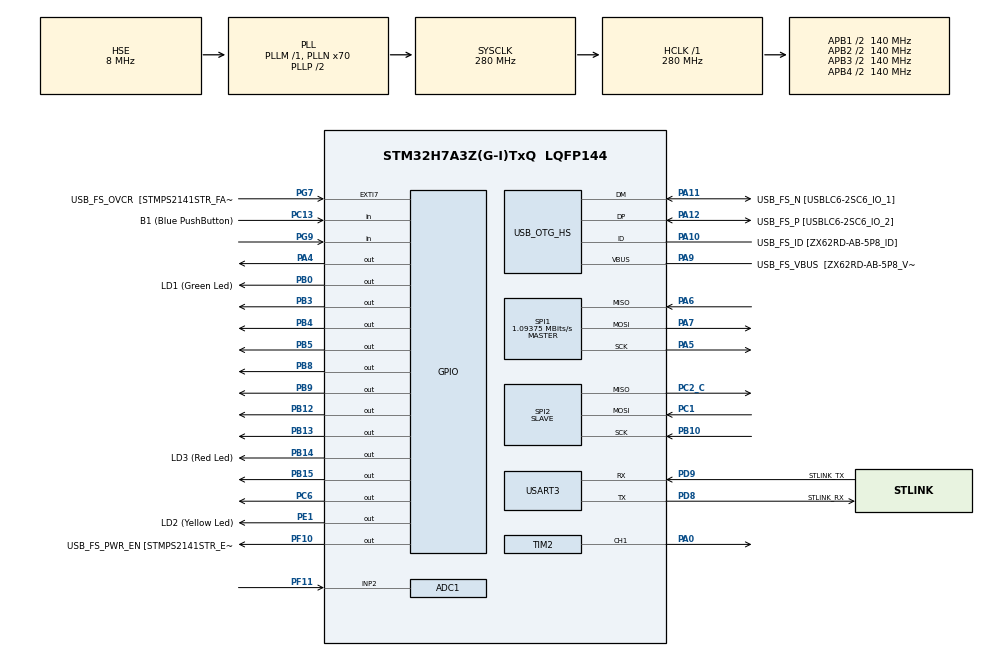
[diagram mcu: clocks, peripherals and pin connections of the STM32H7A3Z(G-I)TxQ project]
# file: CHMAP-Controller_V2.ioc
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ADC1.Channel-0\#ChannelRegularConversion=ADC_CHANNEL_2
ADC1.NbrOfConversion=1
ADC1.NbrOfConversionFlag=1
ADC1.OffsetNumber-0\#ChannelRegularConversion=ADC_OFFSET_NONE
ADC1.OffsetSignedSaturation-0\#ChannelRegularConversion=DISABLE
ADC1.Rank-0\#ChannelRegularConversion=1
ADC1.Resolution=ADC_RESOLUTION_12B
ADC1.SamplingTime-0\#ChannelRegularConversion=ADC_SAMPLETIME_1CYCLE_5
ADC1.master=1
Dma.Request0=SPI2_RX
Dma.SPI2_RX.0.Direction=DMA_PERIPH_TO_MEMORY
Dma.SPI2_RX.0.EventEnable=DISABLE
Dma.SPI2_RX.0.FIFOMode=DMA_FIFOMODE_DISABLE
Dma.SPI2_RX.0.Instance=DMA1_Stream0
Dma.SPI2_RX.0.MemDataAlignment=DMA_MDATAALIGN_BYTE
Dma.SPI2_RX.0.MemInc=DMA_MINC_ENABLE
Dma.SPI2_RX.0.Mode=DMA_CIRCULAR
Dma.SPI2_RX.0.PeriphDataAlignment=DMA_PDATAALIGN_BYTE
Dma.SPI2_RX.0.PeriphInc=DMA_PINC_DISABLE
Dma.SPI2_RX.0.Polarity=HAL_DMAMUX_REQ_GEN_RISING
Dma.SPI2_RX.0.Priority=DMA_PRIORITY_MEDIUM
Dma.SPI2_RX.0.RequestNumber=1
Dma.SPI2_RX.0.SignalID=NONE
Dma.SPI2_RX.0.SyncEnable=DISABLE
Dma.SPI2_RX.0.SyncPolarity=HAL_DMAMUX_SYNC_NO_EVENT
Dma.SPI2_RX.0.SyncRequestNumber=1
Dma.SPI2_RX.0.SyncSignalID=NONE
FREERTOS.Tasks01=defaultTask,0,128,StartDefaultTask,Default,NULL,Dynamic,NULL,NULL
Mcu.Family=STM32H7
Mcu.Name=STM32H7A3Z(G-I)TxQ
Mcu.Package=LQFP144
NVIC.ADC_IRQn=true\:5\:0\:false\:false\:true\:true\:true\:true\:true
NVIC.DMA1_Stream0_IRQn=true\:5\:0\:false\:false\:true\:true\:false\:true\:true
NVIC.PriorityGroup=NVIC_PRIORITYGROUP_4
NVIC.TIM3_IRQn=true\:5\:0\:false\:false\:true\:true\:true\:true\:true
NVIC.TIM5_IRQn=true\:5\:0\:false\:false\:true\:true\:true\:true\:true
NVIC.TIM6_DAC_IRQn=true\:15\:0\:false\:false\:true\:false\:false\:true\:true
NVIC.TimeBase=TIM6_DAC_IRQn
NVIC.TimeBaseIP=TIM6
NVIC.USART3_IRQn=true\:5\:0\:false\:false\:true\:true\:true\:true\:true
PA0.Signal=S_TIM2_CH1_ETR
PA10.GPIO_Label=USB_FS_ID [ZX62RD-AB-5P8_ID]
PA10.Mode=OTG/Dual-Role-Device-FS
PA10.Signal=USB_OTG_HS_ID
PA11.GPIO_Label=USB_FS_N [USBLC6-2SC6_IO_1]
PA11.Mode=OTG/Dual-Role-Device-FS
PA11.Signal=USB_OTG_HS_DM
PA12.GPIO_Label=USB_FS_P [USBLC6-2SC6_IO_2]
PA12.Mode=OTG/Dual-Role-Device-FS
PA12.Signal=USB_OTG_HS_DP
PA4.Signal=GPIO_Output
PA5.Mode=Full_Duplex_Master
PA5.Signal=SPI1_SCK
PA6.Mode=Full_Duplex_Master
PA6.Signal=SPI1_MISO
PA7.Mode=Full_Duplex_Master
PA7.Signal=SPI1_MOSI
PA9.GPIO_Label=USB_FS_VBUS  [ZX62RD-AB-5P8_VBUS]
PA9.Mode=Activate_VBUS_FS
PA9.Signal=USB_OTG_HS_VBUS
PB0.GPIO_Label=LD1 (Green Led)
PB0.Signal=GPIO_Output
PB10.Mode=Full_Duplex_Slave
PB10.Signal=SPI2_SCK
PB12.Signal=GPIO_Output
PB13.Signal=GPIO_Output
PB14.GPIO_Label=LD3 (Red Led)
PB14.Signal=GPIO_Output
PB15.Signal=GPIO_Output
PB3.Signal=GPIO_Output
PB4.Signal=GPIO_Output
PB5.Signal=GPIO_Output
PB8.Signal=GPIO_Output
PB9.Signal=GPIO_Output
PC1.Mode=Full_Duplex_Slave
PC1.Signal=SPI2_MOSI
PC13.GPIO_Label=B1 (Blue PushButton)
PC13.Signal=GPIO_Input
PC14-OSC32_IN.GPIO_Label=OSC32_IN
PC14-OSC32_IN.Mode=LSE-External-Oscillator
PC14-OSC32_IN.Signal=RCC_OSC32_IN
PC15-OSC32_OUT.GPIO_Label=OSC32_OUT
PC15-OSC32_OUT.Mode=LSE-External-Oscillator
PC15-OSC32_OUT.Signal=RCC_OSC32_OUT
PC2_C.Mode=Full_Duplex_Slave
PC2_C.Signal=SPI2_MISO
PC6.Signal=GPIO_Output
PD8.GPIO_Label=STLINK_RX
PD8.Mode=Asynchronous
PD8.Signal=USART3_TX
PD9.GPIO_Label=STLINK_TX
PD9.Mode=Asynchronous
PD9.Signal=USART3_RX
PE1.GPIO_Label=LD2 (Yellow Led)
PE1.Signal=GPIO_Output
PF10.GPIO_Label=USB_FS_PWR_EN [STMPS2141STR_EN]
PF10.Signal=GPIO_Output
PF11.Mode=IN2-Single-Ended
PF11.Signal=ADC1_INP2
PG7.GPIO_Label=USB_FS_OVCR  [STMPS2141STR_FAULT]
PG7.Signal=GPXTI7
PG9.Signal=GPIO_Input
PH0-OSC_IN.GPIO_Label=PH0-MCU
PH0-OSC_IN.Mode=HSE-External-Clock-Source
PH0-OSC_IN.Signal=RCC_OSC_IN
PH1-OSC_OUT.GPIO_Label=PH1-MCU
PH1-OSC_OUT.Signal=RCC_OSC_OUT
ProjectManager.HeapSize=0x200
ProjectManager.StackSize=0x400
ProjectManager.TargetToolchain=STM32CubeIDE
RCC.ADCFreq_Value=280000000
RCC.APB1Freq_Value=140000000
RCC.APB2Freq_Value=140000000
RCC.APB3Freq_Value=140000000
RCC.APB4Freq_Value=140000000
RCC.CDPPRE=RCC_APB3_DIV2
RCC.CDPPRE1=RCC_APB1_DIV2
RCC.CDPPRE2=RCC_APB2_DIV2
RCC.CortexFreq_Value=280000000
RCC.DIVM1=1
RCC.DIVM2=1
RCC.DIVM3=1
RCC.DIVN1=70
RCC.DIVN2=70
RCC.DIVN3=24
RCC.DIVQ1=4
RCC.HCLKFreq_Value=280000000
RCC.HSE_VALUE=8000000
RCC.PLLFRACN=0
RCC.PLLSourceVirtual=RCC_PLLSOURCE_HSE
RCC.PWR_Regulator_Voltage_Scale=PWR_REGULATOR_VOLTAGE_SCALE0
RCC.SRDPPRE=RCC_APB4_DIV2
RCC.SYSCLKFreq_VALUE=280000000
RCC.SYSCLKSource=RCC_SYSCLKSOURCE_PLLCLK
RCC.SupplySource=PWR_DIRECT_SMPS_SUPPLY
RCC.USBCLockSelection=RCC_USBCLKSOURCE_HSI48
RCC.USBFreq_Value=48000000
SH.S_TIM2_CH1_ETR.0=TIM2_CH1,PWM Generation1 CH1
SPI1.BaudRatePrescaler=SPI_BAUDRATEPRESCALER_128
SPI1.CLKPhase=SPI_PHASE_2EDGE
SPI1.CLKPolarity=SPI_POLARITY_HIGH
SPI1.CalculateBaudRate=1.09375 MBits/s
SPI1.DataSize=SPI_DATASIZE_8BIT
SPI1.Direction=SPI_DIRECTION_2LINES
SPI1.Mode=SPI_MODE_MASTER
SPI1.VirtualType=VM_MASTER
SPI2.DataSize=SPI_DATASIZE_8BIT
SPI2.Direction=SPI_DIRECTION_2LINES
SPI2.Mode=SPI_MODE_SLAVE
SPI2.VirtualType=VM_SLAVE
TIM2.Channel-PWM\ Generation1\ CH1=TIM_CHANNEL_1
TIM2.Period=280000-1
TIM3.Period=1500-1
TIM3.Prescaler=280-1
TIM5.Period=1500-1
TIM5.Prescaler=280-1
USART3.VirtualMode-Asynchronous=VM_ASYNC
VP_FREERTOS_VS_CMSIS_V1.Mode=CMSIS_V1
VP_SYS_VS_tim6.Mode=TIM6
VP_TIM2_VS_ClockSourceINT.Mode=Internal
VP_TIM3_VS_ClockSourceINT.Mode=Internal
VP_TIM5_VS_ClockSourceINT.Mode=Internal
board=NUCLEO-H7A3ZI-Q

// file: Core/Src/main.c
/* USER CODE BEGIN Header */
/**
  ******************************************************************************
  * @file           : main.c
  * @brief          : Main program body
  ******************************************************************************
  * @attention
  *
  * Copyright (c) 2022 STMicroelectronics.
  * All rights reserved.
  *
  * This software is licensed under terms that can be found in the LICENSE file
  * in the root directory of this software component.
  * If no LICENSE file comes with this software, it is provided AS-IS.
  *
  ******************************************************************************
  */
/* USER CODE END Header */
#include "main.h"

/* USER CODE BEGIN Includes */
#include "FreeRTOS.h"
#include "task.h"
#include "timers.h"
#include "queue.h"
#include "semphr.h"
#include "event_groups.h"

#include <stdio.h>
#include <stdlib.h>
#include <stdbool.h>
#include "string.h"
#include <math.h>
/* USER CODE END Includes */

 ADC_HandleTypeDef hadc1;

SPI_HandleTypeDef hspi1;
SPI_HandleTypeDef hspi2;
DMA_HandleTypeDef hdma_spi2_rx;

TIM_HandleTypeDef htim2;
TIM_HandleTypeDef htim3;
TIM_HandleTypeDef htim5;

UART_HandleTypeDef huart3;

/* USER CODE BEGIN PV */

// Buffers

uint8_t DPPrxBuffer[2] = {0};

uint16_t ADCBuffer;

bool AutoFocusEn = false;
uint16_t dist = 2048;

uint16_t max_pos = 20000; // The maximum possible extent of movement along the linear stages
bool MtrStop = false;

// Motor control registers

// GCONF 		- 0x00
//0b00000000000000000000000000000000;
const char GCONF[5] = {0x80, 0x00, 0x00, 0x00, 0x00};

// IHOLD_IRUN 	- 0x10
//0b00000000000001010001110000011100;
const char IHOLD_IRUN[5] = {0x90, 0x00, 0x05, 0x1C, 0x1C};

// TPOWERDOWN 	- 0x11
//0b00000000000000000000000010000000;
const char TPOWERDOWN[5] = {0x91, 0x00, 0x00, 0x00, 0x80};

// CHOPCONF		- 0x6C
//0b00001000000000001010010101000010;
const char CHOPCONF[5] = {0xEC, 0x08, 0x00, 0xA5, 0x42};

// COOLCONF		- 0x6D
//0b00000000010100000010100000100010;
const char COOLCONF[5] = {0xED, 0x00, 0x50, 0x28, 0x22};

// READSTAT		- 0x6F
//0b00000000000000000000000000000000;
const char READSTAT[5] = {0x6F, 0x00, 0x00, 0x00, 0x00};

// Error codes

/* USER CODE END PV */

void SystemClock_Config(void);
static void MX_GPIO_Init(void);
static void MX_USART3_UART_Init(void);
static void MX_DMA_Init(void);
static void MX_USB_OTG_HS_USB_Init(void);
static void MX_SPI2_Init(void);
static void MX_SPI1_Init(void);
static void MX_ADC1_Init(void);
static void MX_TIM2_Init(void);
static void MX_TIM5_Init(void);
static void MX_TIM3_Init(void);

/* USER CODE BEGIN 0 */

/* Task Handles **********************************/

TaskHandle_t MotorCtrlXHandle;
TaskHandle_t MotorCtrlYHandle;
TaskHandle_t HeliumCtrlHandle;
TaskHandle_t UARTComHandle;
TaskHandle_t AutoFocusHandle;
//TaskHandle_t DPPComHandle;

/* Queue Handles *********************************/

QueueHandle_t UARTtxQueue;
QueueHandle_t DPPrxQueue;
QueueHandle_t MtrCtrlXrxQueue;
QueueHandle_t MtrCtrlYrxQueue;
QueueHandle_t HelCtrlrxQueue;
//QueueHandle_t AutoFocusrxQueue;

/* Semaphore Handles *****************************/

SemaphoreHandle_t MotorPulseSem;
SemaphoreHandle_t AutoFocusSem;
SemaphoreHandle_t UARTComSem;
SemaphoreHandle_t AutoFocusPulseSem;

/* Task Functions *********************************/
void AutoFocus (void *argument);
void MotorCtrlX (void *argument);
void MotorCtrlY (void *argument);
void HeliumCtrl (void *argument);
void UARTCom (void *argument);
//void DPPCom (void *argument);

/* USER CODE END 0 */

int main(void)
{

  /* MCU Configuration--------------------------------------------------------*/

  /* Reset of all peripherals, Initializes the Flash interface and the Systick. */
  HAL_Init();

  /* USER CODE BEGIN Init */

  /* Initialise Pins ****************************/
  HAL_GPIO_WritePin(GPIOB, GPIO_PIN_5, GPIO_PIN_RESET);		// EN X and Y
  HAL_GPIO_WritePin(GPIOB, GPIO_PIN_3, GPIO_PIN_SET);		// CS X and Y
  HAL_GPIO_WritePin(GPIOA, GPIO_PIN_4, GPIO_PIN_RESET); 	// DIR X
  HAL_GPIO_WritePin(GPIOB, GPIO_PIN_4, GPIO_PIN_RESET); 	// STEP X
  HAL_GPIO_WritePin(GPIOB, GPIO_PIN_9, GPIO_PIN_RESET); 	// DIR Y
  HAL_GPIO_WritePin(GPIOB, GPIO_PIN_8, GPIO_PIN_RESET); 	// STEP Y

  HAL_GPIO_WritePin(GPIOB, GPIO_PIN_13, GPIO_PIN_RESET); 	// EN Z
  HAL_GPIO_WritePin(GPIOB, GPIO_PIN_12, GPIO_PIN_SET); 		// CS Z
  HAL_GPIO_WritePin(GPIOB, GPIO_PIN_15, GPIO_PIN_RESET); 	// DIR Z
  HAL_GPIO_WritePin(GPIOC, GPIO_PIN_6, GPIO_PIN_RESET); 	// STEP Z

  /* USER CODE END Init */

  /* Configure the system clock */
  SystemClock_Config();

  /* Initialize all configured peripherals */
  MX_GPIO_Init();
  MX_USART3_UART_Init();
  MX_DMA_Init();
  MX_USB_OTG_HS_USB_Init();
  MX_SPI2_Init();
  MX_SPI1_Init();
  MX_ADC1_Init();
  MX_TIM2_Init();
  MX_TIM5_Init();
  MX_TIM3_Init();
  /* USER CODE BEGIN 2 */
  while(HAL_ADCEx_Calibration_Start(&hadc1, ADC_CALIB_OFFSET, ADC_SINGLE_ENDED) != HAL_OK);

  /* Create Queues *********************************/

  UARTtxQueue = xQueueCreate(10, 2);
  DPPrxQueue = xQueueCreate(50, 2); // Send and receive 2 bytes to/from the MCA
  MtrCtrlXrxQueue = xQueueCreate(10, 8);
  MtrCtrlYrxQueue = xQueueCreate(10, 8);
  HelCtrlrxQueue = xQueueCreate(1, 2); // Just an atomic variable, not really a "queue" per se. Could probably just use a semaphore and a global variable as I did in the ISRs
  //AutoFocusrxQueue = xQueueCreate(1, 4);

  /* Create Semaphores *****************************/

  MotorPulseSem = xSemaphoreCreateBinary();
  AutoFocusSem = xSemaphoreCreateBinary();
  UARTComSem = xSemaphoreCreateBinary();
  AutoFocusPulseSem = xSemaphoreCreateBinary();

  /* Create Tasks **********************************/

  xTaskCreate(AutoFocus, 	"Auto_Focus", 			256, NULL, 	4, &AutoFocusHandle);
  xTaskCreate(MotorCtrlX, 	"Motor_Controller_X", 	128, NULL, 	3, &MotorCtrlXHandle);
  xTaskCreate(MotorCtrlY, 	"Motor_Controller_Y", 	128, NULL, 	3, &MotorCtrlYHandle);
  xTaskCreate(HeliumCtrl, 	"Helium_Controller", 	128, NULL, 	1, &HeliumCtrlHandle);
  xTaskCreate(UARTCom, 		"UART_Communication", 	128, NULL, 	2, &UARTComHandle);

  /* Initialise Peripherals with HAL **********************************/

  HAL_TIM_Base_Start_IT(&htim5);
  HAL_TIM_Base_Start_IT(&htim3);
  HAL_TIM_PWM_Start(&htim2, TIM_CHANNEL_1);
  HAL_SPI_Receive_DMA(&hspi2, DPPrxBuffer, 2);

 /* Platform initialisation ***********************************/

  // Being that we send the same information to all the motor drivers, we set the CS for all three low prior to sending a message
  vTaskDelay(pdMS_TO_TICKS(1));
  HAL_GPIO_WritePin(GPIOB, GPIO_PIN_3, GPIO_PIN_RESET);
  HAL_GPIO_WritePin(GPIOB, GPIO_PIN_12, GPIO_PIN_RESET);
  HAL_SPI_Transmit(&hspi1, (uint8_t *)&GCONF, 5, 100);
  HAL_GPIO_WritePin(GPIOB, GPIO_PIN_3, GPIO_PIN_SET);
  HAL_GPIO_WritePin(GPIOB, GPIO_PIN_12, GPIO_PIN_SET);

  vTaskDelay(pdMS_TO_TICKS(1));
  HAL_GPIO_WritePin(GPIOB, GPIO_PIN_3, GPIO_PIN_RESET);
  HAL_GPIO_WritePin(GPIOB, GPIO_PIN_12, GPIO_PIN_RESET);
  HAL_SPI_Transmit(&hspi1, (uint8_t *)&IHOLD_IRUN, 5, 100);
  HAL_GPIO_WritePin(GPIOB, GPIO_PIN_3, GPIO_PIN_SET);
  HAL_GPIO_WritePin(GPIOB, GPIO_PIN_12, GPIO_PIN_SET);

  vTaskDelay(pdMS_TO_TICKS(1));
  HAL_GPIO_WritePin(GPIOB, GPIO_PIN_3, GPIO_PIN_RESET);
  HAL_GPIO_WritePin(GPIOB, GPIO_PIN_12, GPIO_PIN_RESET);
  HAL_SPI_Transmit(&hspi1, (uint8_t *)&TPOWERDOWN, 5, 100);
  HAL_GPIO_WritePin(GPIOB, GPIO_PIN_3, GPIO_PIN_SET);
  HAL_GPIO_WritePin(GPIOB, GPIO_PIN_12, GPIO_PIN_SET);

  vTaskDelay(pdMS_TO_TICKS(1));
  HAL_GPIO_WritePin(GPIOB, GPIO_PIN_3, GPIO_PIN_RESET);
  HAL_GPIO_WritePin(GPIOB, GPIO_PIN_12, GPIO_PIN_RESET);
  HAL_SPI_Transmit(&hspi1, (uint8_t *)&CHOPCONF, 5, 100);
  HAL_GPIO_WritePin(GPIOB, GPIO_PIN_3, GPIO_PIN_SET);
  HAL_GPIO_WritePin(GPIOB, GPIO_PIN_12, GPIO_PIN_SET);

  vTaskDelay(pdMS_TO_TICKS(1));
  HAL_GPIO_WritePin(GPIOB, GPIO_PIN_3, GPIO_PIN_RESET);
  HAL_GPIO_WritePin(GPIOB, GPIO_PIN_12, GPIO_PIN_RESET);
  HAL_SPI_Transmit(&hspi1, (uint8_t *)&COOLCONF, 5, 100);
  HAL_GPIO_WritePin(GPIOB, GPIO_PIN_3, GPIO_PIN_SET);
  HAL_GPIO_WritePin(GPIOB, GPIO_PIN_12, GPIO_PIN_SET);

  vTaskStartScheduler();

  /* USER CODE END 2 */

  /* We should never get here as control is now taken by the scheduler */
  /* Infinite loop */
  while (1)
  {

  }
}

void SystemClock_Config(void)
{
  RCC_OscInitTypeDef RCC_OscInitStruct = {0};
  RCC_ClkInitTypeDef RCC_ClkInitStruct = {0};

  /** Supply configuration update enable
  */
  HAL_PWREx_ConfigSupply(PWR_DIRECT_SMPS_SUPPLY);

  /** Configure the main internal regulator output voltage
  */
  __HAL_PWR_VOLTAGESCALING_CONFIG(PWR_REGULATOR_VOLTAGE_SCALE0);

  while(!__HAL_PWR_GET_FLAG(PWR_FLAG_VOSRDY)) {}

  /** Macro to configure the PLL clock source
  */
  __HAL_RCC_PLL_PLLSOURCE_CONFIG(RCC_PLLSOURCE_HSE);

  /** Initializes the RCC Oscillators according to the specified parameters
  * in the RCC_OscInitTypeDef structure.
  */
  RCC_OscInitStruct.OscillatorType = RCC_OSCILLATORTYPE_HSI48|RCC_OSCILLATORTYPE_HSE;
  RCC_OscInitStruct.HSEState = RCC_HSE_BYPASS;
  RCC_OscInitStruct.HSI48State = RCC_HSI48_ON;
  RCC_OscInitStruct.PLL.PLLState = RCC_PLL_ON;
  RCC_OscInitStruct.PLL.PLLSource = RCC_PLLSOURCE_HSE;
  RCC_OscInitStruct.PLL.PLLM = 1;
  RCC_OscInitStruct.PLL.PLLN = 70;
  RCC_OscInitStruct.PLL.PLLP = 2;
  RCC_OscInitStruct.PLL.PLLQ = 4;
  RCC_OscInitStruct.PLL.PLLR = 2;
  RCC_OscInitStruct.PLL.PLLRGE = RCC_PLL1VCIRANGE_3;
  RCC_OscInitStruct.PLL.PLLVCOSEL = RCC_PLL1VCOWIDE;
  RCC_OscInitStruct.PLL.PLLFRACN = 0;
  if (HAL_RCC_OscConfig(&RCC_OscInitStruct) != HAL_OK)
  {
    Error_Handler();
  }

  /** Initializes the CPU, AHB and APB buses clocks
  */
  RCC_ClkInitStruct.ClockType = RCC_CLOCKTYPE_HCLK|RCC_CLOCKTYPE_SYSCLK
                              |RCC_CLOCKTYPE_PCLK1|RCC_CLOCKTYPE_PCLK2
                              |RCC_CLOCKTYPE_D3PCLK1|RCC_CLOCKTYPE_D1PCLK1;
  RCC_ClkInitStruct.SYSCLKSource = RCC_SYSCLKSOURCE_PLLCLK;
  RCC_ClkInitStruct.SYSCLKDivider = RCC_SYSCLK_DIV1;
  RCC_ClkInitStruct.AHBCLKDivider = RCC_HCLK_DIV1;
  RCC_ClkInitStruct.APB3CLKDivider = RCC_APB3_DIV2;
  RCC_ClkInitStruct.APB1CLKDivider = RCC_APB1_DIV2;
  RCC_ClkInitStruct.APB2CLKDivider = RCC_APB2_DIV2;
  RCC_ClkInitStruct.APB4CLKDivider = RCC_APB4_DIV2;

  if (HAL_RCC_ClockConfig(&RCC_ClkInitStruct, FLASH_LATENCY_7) != HAL_OK)
  {
    Error_Handler();
  }
}

static void MX_ADC1_Init(void)
{

  ADC_MultiModeTypeDef multimode = {0};
  ADC_ChannelConfTypeDef sConfig = {0};

  /** Common config
  */
  hadc1.Instance = ADC1;
  hadc1.Init.ClockPrescaler = ADC_CLOCK_ASYNC_DIV1;
  hadc1.Init.Resolution = ADC_RESOLUTION_12B;
  hadc1.Init.ScanConvMode = ADC_SCAN_DISABLE;
  hadc1.Init.EOCSelection = ADC_EOC_SINGLE_CONV;
  hadc1.Init.LowPowerAutoWait = DISABLE;
  hadc1.Init.ContinuousConvMode = DISABLE;
  hadc1.Init.NbrOfConversion = 1;
  hadc1.Init.DiscontinuousConvMode = DISABLE;
  hadc1.Init.ExternalTrigConv = ADC_SOFTWARE_START;
  hadc1.Init.ExternalTrigConvEdge = ADC_EXTERNALTRIGCONVEDGE_NONE;
  hadc1.Init.ConversionDataManagement = ADC_CONVERSIONDATA_DR;
  hadc1.Init.Overrun = ADC_OVR_DATA_PRESERVED;
  hadc1.Init.LeftBitShift = ADC_LEFTBITSHIFT_NONE;
  hadc1.Init.OversamplingMode = DISABLE;
  if (HAL_ADC_Init(&hadc1) != HAL_OK)
  {
    Error_Handler();
  }

  /** Configure the ADC multi-mode
  */
  multimode.Mode = ADC_MODE_INDEPENDENT;
  if (HAL_ADCEx_MultiModeConfigChannel(&hadc1, &multimode) != HAL_OK)
  {
    Error_Handler();
  }

  /** Configure Regular Channel
  */
  sConfig.Channel = ADC_CHANNEL_2;
  sConfig.Rank = ADC_REGULAR_RANK_1;
  sConfig.SamplingTime = ADC_SAMPLETIME_1CYCLE_5;
  sConfig.SingleDiff = ADC_SINGLE_ENDED;
  sConfig.OffsetNumber = ADC_OFFSET_NONE;
  sConfig.Offset = 0;
  sConfig.OffsetSignedSaturation = DISABLE;
  if (HAL_ADC_ConfigChannel(&hadc1, &sConfig) != HAL_OK)
  {
    Error_Handler();
  }

}

static void MX_SPI1_Init(void)
{

  /* SPI1 parameter configuration*/
  hspi1.Instance = SPI1;
  hspi1.Init.Mode = SPI_MODE_MASTER;
  hspi1.Init.Direction = SPI_DIRECTION_2LINES;
  hspi1.Init.DataSize = SPI_DATASIZE_8BIT;
  hspi1.Init.CLKPolarity = SPI_POLARITY_HIGH;
  hspi1.Init.CLKPhase = SPI_PHASE_2EDGE;
  hspi1.Init.NSS = SPI_NSS_SOFT;
  hspi1.Init.BaudRatePrescaler = SPI_BAUDRATEPRESCALER_128;
  hspi1.Init.FirstBit = SPI_FIRSTBIT_MSB;
  hspi1.Init.TIMode = SPI_TIMODE_DISABLE;
  hspi1.Init.CRCCalculation = SPI_CRCCALCULATION_DISABLE;
  hspi1.Init.CRCPolynomial = 0x0;
  hspi1.Init.NSSPMode = SPI_NSS_PULSE_ENABLE;
  hspi1.Init.NSSPolarity = SPI_NSS_POLARITY_LOW;
  hspi1.Init.FifoThreshold = SPI_FIFO_THRESHOLD_01DATA;
  hspi1.Init.TxCRCInitializationPattern = SPI_CRC_INITIALIZATION_ALL_ZERO_PATTERN;
  hspi1.Init.RxCRCInitializationPattern = SPI_CRC_INITIALIZATION_ALL_ZERO_PATTERN;
  hspi1.Init.MasterSSIdleness = SPI_MASTER_SS_IDLENESS_00CYCLE;
  hspi1.Init.MasterInterDataIdleness = SPI_MASTER_INTERDATA_IDLENESS_00CYCLE;
  hspi1.Init.MasterReceiverAutoSusp = SPI_MASTER_RX_AUTOSUSP_DISABLE;
  hspi1.Init.MasterKeepIOState = SPI_MASTER_KEEP_IO_STATE_DISABLE;
  hspi1.Init.IOSwap = SPI_IO_SWAP_DISABLE;
  if (HAL_SPI_Init(&hspi1) != HAL_OK)
  {
    Error_Handler();
  }

}

static void MX_SPI2_Init(void)
{

  /* SPI2 parameter configuration*/
  hspi2.Instance = SPI2;
  hspi2.Init.Mode = SPI_MODE_SLAVE;
  hspi2.Init.Direction = SPI_DIRECTION_2LINES;
  hspi2.Init.DataSize = SPI_DATASIZE_8BIT;
  hspi2.Init.CLKPolarity = SPI_POLARITY_LOW;
  hspi2.Init.CLKPhase = SPI_PHASE_1EDGE;
  hspi2.Init.NSS = SPI_NSS_SOFT;
  hspi2.Init.FirstBit = SPI_FIRSTBIT_MSB;
  hspi2.Init.TIMode = SPI_TIMODE_DISABLE;
  hspi2.Init.CRCCalculation = SPI_CRCCALCULATION_DISABLE;
  hspi2.Init.CRCPolynomial = 0x0;
  hspi2.Init.NSSPMode = SPI_NSS_PULSE_DISABLE;
  hspi2.Init.NSSPolarity = SPI_NSS_POLARITY_LOW;
  hspi2.Init.FifoThreshold = SPI_FIFO_THRESHOLD_01DATA;
  hspi2.Init.TxCRCInitializationPattern = SPI_CRC_INITIALIZATION_ALL_ZERO_PATTERN;
  hspi2.Init.RxCRCInitializationPattern = SPI_CRC_INITIALIZATION_ALL_ZERO_PATTERN;
  hspi2.Init.MasterSSIdleness = SPI_MASTER_SS_IDLENESS_00CYCLE;
  hspi2.Init.MasterInterDataIdleness = SPI_MASTER_INTERDATA_IDLENESS_00CYCLE;
  hspi2.Init.MasterReceiverAutoSusp = SPI_MASTER_RX_AUTOSUSP_DISABLE;
  hspi2.Init.MasterKeepIOState = SPI_MASTER_KEEP_IO_STATE_DISABLE;
  hspi2.Init.IOSwap = SPI_IO_SWAP_DISABLE;
  if (HAL_SPI_Init(&hspi2) != HAL_OK)
  {
    Error_Handler();
  }

}

static void MX_TIM2_Init(void)
{

  TIM_ClockConfigTypeDef sClockSourceConfig = {0};
  TIM_MasterConfigTypeDef sMasterConfig = {0};
  TIM_OC_InitTypeDef sConfigOC = {0};

  htim2.Instance = TIM2;
  htim2.Init.Prescaler = 0;
  htim2.Init.CounterMode = TIM_COUNTERMODE_UP;
  htim2.Init.Period = 280000-1;
  htim2.Init.ClockDivision = TIM_CLOCKDIVISION_DIV1;
  htim2.Init.AutoReloadPreload = TIM_AUTORELOAD_PRELOAD_DISABLE;
  if (HAL_TIM_Base_Init(&htim2) != HAL_OK)
  {
    Error_Handler();
  }
  sClockSourceConfig.ClockSource = TIM_CLOCKSOURCE_INTERNAL;
  if (HAL_TIM_ConfigClockSource(&htim2, &sClockSourceConfig) != HAL_OK)
  {
    Error_Handler();
  }
  if (HAL_TIM_PWM_Init(&htim2) != HAL_OK)
  {
    Error_Handler();
  }
  sMasterConfig.MasterOutputTrigger = TIM_TRGO_RESET;
  sMasterConfig.MasterSlaveMode = TIM_MASTERSLAVEMODE_DISABLE;
  if (HAL_TIMEx_MasterConfigSynchronization(&htim2, &sMasterConfig) != HAL_OK)
  {
    Error_Handler();
  }
  sConfigOC.OCMode = TIM_OCMODE_PWM1;
  sConfigOC.Pulse = 0;
  sConfigOC.OCPolarity = TIM_OCPOLARITY_HIGH;
  sConfigOC.OCFastMode = TIM_OCFAST_DISABLE;
  if (HAL_TIM_PWM_ConfigChannel(&htim2, &sConfigOC, TIM_CHANNEL_1) != HAL_OK)
  {
    Error_Handler();
  }
  HAL_TIM_MspPostInit(&htim2);

}

static void MX_TIM3_Init(void)
{

  TIM_ClockConfigTypeDef sClockSourceConfig = {0};
  TIM_MasterConfigTypeDef sMasterConfig = {0};

  htim3.Instance = TIM3;
  htim3.Init.Prescaler = 280-1;
  htim3.Init.CounterMode = TIM_COUNTERMODE_UP;
  htim3.Init.Period = 1500-1;
  htim3.Init.ClockDivision = TIM_CLOCKDIVISION_DIV1;
  htim3.Init.AutoReloadPreload = TIM_AUTORELOAD_PRELOAD_DISABLE;
  if (HAL_TIM_Base_Init(&htim3) != HAL_OK)
  {
    Error_Handler();
  }
  sClockSourceConfig.ClockSource = TIM_CLOCKSOURCE_INTERNAL;
  if (HAL_TIM_ConfigClockSource(&htim3, &sClockSourceConfig) != HAL_OK)
  {
    Error_Handler();
  }
  sMasterConfig.MasterOutputTrigger = TIM_TRGO_RESET;
  sMasterConfig.MasterSlaveMode = TIM_MASTERSLAVEMODE_DISABLE;
  if (HAL_TIMEx_MasterConfigSynchronization(&htim3, &sMasterConfig) != HAL_OK)
  {
    Error_Handler();
  }

}

static void MX_TIM5_Init(void)
{

  TIM_ClockConfigTypeDef sClockSourceConfig = {0};
  TIM_MasterConfigTypeDef sMasterConfig = {0};

  htim5.Instance = TIM5;
  htim5.Init.Prescaler = 280-1;
  htim5.Init.CounterMode = TIM_COUNTERMODE_UP;
  htim5.Init.Period = 1500-1;
  htim5.Init.ClockDivision = TIM_CLOCKDIVISION_DIV1;
  htim5.Init.AutoReloadPreload = TIM_AUTORELOAD_PRELOAD_DISABLE;
  if (HAL_TIM_Base_Init(&htim5) != HAL_OK)
  {
    Error_Handler();
  }
  sClockSourceConfig.ClockSource = TIM_CLOCKSOURCE_INTERNAL;
  if (HAL_TIM_ConfigClockSource(&htim5, &sClockSourceConfig) != HAL_OK)
  {
    Error_Handler();
  }
  sMasterConfig.MasterOutputTrigger = TIM_TRGO_RESET;
  sMasterConfig.MasterSlaveMode = TIM_MASTERSLAVEMODE_DISABLE;
  if (HAL_TIMEx_MasterConfigSynchronization(&htim5, &sMasterConfig) != HAL_OK)
  {
    Error_Handler();
  }

}

static void MX_USART3_UART_Init(void)
{

  huart3.Instance = USART3;
  huart3.Init.BaudRate = 115200;
  huart3.Init.WordLength = UART_WORDLENGTH_8B;
  huart3.Init.StopBits = UART_STOPBITS_1;
  huart3.Init.Parity = UART_PARITY_NONE;
  huart3.Init.Mode = UART_MODE_TX_RX;
  huart3.Init.HwFlowCtl = UART_HWCONTROL_NONE;
  huart3.Init.OverSampling = UART_OVERSAMPLING_16;
  huart3.Init.OneBitSampling = UART_ONE_BIT_SAMPLE_DISABLE;
  huart3.Init.ClockPrescaler = UART_PRESCALER_DIV1;
  huart3.AdvancedInit.AdvFeatureInit = UART_ADVFEATURE_NO_INIT;
  if (HAL_UART_Init(&huart3) != HAL_OK)
  {
    Error_Handler();
  }
  if (HAL_UARTEx_SetTxFifoThreshold(&huart3, UART_TXFIFO_THRESHOLD_1_8) != HAL_OK)
  {
    Error_Handler();
  }
  if (HAL_UARTEx_SetRxFifoThreshold(&huart3, UART_RXFIFO_THRESHOLD_1_8) != HAL_OK)
  {
    Error_Handler();
  }
  if (HAL_UARTEx_DisableFifoMode(&huart3) != HAL_OK)
  {
    Error_Handler();
  }

}

static void MX_USB_OTG_HS_USB_Init(void)
{

}

static void MX_DMA_Init(void)
{

  /* DMA controller clock enable */
  __HAL_RCC_DMA1_CLK_ENABLE();

  /* DMA interrupt init */
  /* DMA1_Stream0_IRQn interrupt configuration */
  HAL_NVIC_SetPriority(DMA1_Stream0_IRQn, 5, 0);
  HAL_NVIC_EnableIRQ(DMA1_Stream0_IRQn);

}

static void MX_GPIO_Init(void)
{
  GPIO_InitTypeDef GPIO_InitStruct = {0};

  /* GPIO Ports Clock Enable */
  __HAL_RCC_GPIOC_CLK_ENABLE();
  __HAL_RCC_GPIOF_CLK_ENABLE();
  __HAL_RCC_GPIOH_CLK_ENABLE();
  __HAL_RCC_GPIOA_CLK_ENABLE();
  __HAL_RCC_GPIOB_CLK_ENABLE();
  __HAL_RCC_GPIOD_CLK_ENABLE();
  __HAL_RCC_GPIOG_CLK_ENABLE();
  __HAL_RCC_GPIOE_CLK_ENABLE();

  /*Configure GPIO pin Output Level */
  HAL_GPIO_WritePin(USB_FS_PWR_EN_GPIO_Port, USB_FS_PWR_EN_Pin, GPIO_PIN_RESET);

  /*Configure GPIO pin Output Level */
  HAL_GPIO_WritePin(GPIOA, GPIO_PIN_4, GPIO_PIN_RESET);

  /*Configure GPIO pin Output Level */
  HAL_GPIO_WritePin(GPIOB, LD1_Pin|GPIO_PIN_12|GPIO_PIN_13|LD3_Pin
                          |GPIO_PIN_15|GPIO_PIN_3|GPIO_PIN_4|GPIO_PIN_5
                          |GPIO_PIN_8|GPIO_PIN_9, GPIO_PIN_RESET);

  /*Configure GPIO pin Output Level */
  HAL_GPIO_WritePin(GPIOC, GPIO_PIN_6, GPIO_PIN_RESET);

  /*Configure GPIO pin Output Level */
  HAL_GPIO_WritePin(LD2_GPIO_Port, LD2_Pin, GPIO_PIN_RESET);

  /*Configure GPIO pin : B1_Pin */
  GPIO_InitStruct.Pin = B1_Pin;
  GPIO_InitStruct.Mode = GPIO_MODE_INPUT;
  GPIO_InitStruct.Pull = GPIO_NOPULL;
  HAL_GPIO_Init(B1_GPIO_Port, &GPIO_InitStruct);

  /*Configure GPIO pin : USB_FS_PWR_EN_Pin */
  GPIO_InitStruct.Pin = USB_FS_PWR_EN_Pin;
  GPIO_InitStruct.Mode = GPIO_MODE_OUTPUT_PP;
  GPIO_InitStruct.Pull = GPIO_NOPULL;
  GPIO_InitStruct.Speed = GPIO_SPEED_FREQ_LOW;
  HAL_GPIO_Init(USB_FS_PWR_EN_GPIO_Port, &GPIO_InitStruct);

  /*Configure GPIO pin : PA4 */
  GPIO_InitStruct.Pin = GPIO_PIN_4;
  GPIO_InitStruct.Mode = GPIO_MODE_OUTPUT_PP;
  GPIO_InitStruct.Pull = GPIO_NOPULL;
  GPIO_InitStruct.Speed = GPIO_SPEED_FREQ_LOW;
  HAL_GPIO_Init(GPIOA, &GPIO_InitStruct);

  /*Configure GPIO pins : LD1_Pin PB12 PB13 LD3_Pin
                           PB15 PB3 PB4 PB5
                           PB8 PB9 */
  GPIO_InitStruct.Pin = LD1_Pin|GPIO_PIN_12|GPIO_PIN_13|LD3_Pin
                          |GPIO_PIN_15|GPIO_PIN_3|GPIO_PIN_4|GPIO_PIN_5
                          |GPIO_PIN_8|GPIO_PIN_9;
  GPIO_InitStruct.Mode = GPIO_MODE_OUTPUT_PP;
  GPIO_InitStruct.Pull = GPIO_NOPULL;
  GPIO_InitStruct.Speed = GPIO_SPEED_FREQ_LOW;
  HAL_GPIO_Init(GPIOB, &GPIO_InitStruct);

  /*Configure GPIO pin : USB_FS_OVCR_Pin */
  GPIO_InitStruct.Pin = USB_FS_OVCR_Pin;
  GPIO_InitStruct.Mode = GPIO_MODE_IT_RISING;
  GPIO_InitStruct.Pull = GPIO_NOPULL;
  HAL_GPIO_Init(USB_FS_OVCR_GPIO_Port, &GPIO_InitStruct);

  /*Configure GPIO pin : PC6 */
  GPIO_InitStruct.Pin = GPIO_PIN_6;
  GPIO_InitStruct.Mode = GPIO_MODE_OUTPUT_PP;
  GPIO_InitStruct.Pull = GPIO_NOPULL;
  GPIO_InitStruct.Speed = GPIO_SPEED_FREQ_LOW;
  HAL_GPIO_Init(GPIOC, &GPIO_InitStruct);

  /*Configure GPIO pin : USB_FS_VBUS_Pin */
  GPIO_InitStruct.Pin = USB_FS_VBUS_Pin;
  GPIO_InitStruct.Mode = GPIO_MODE_INPUT;
  GPIO_InitStruct.Pull = GPIO_NOPULL;
  HAL_GPIO_Init(USB_FS_VBUS_GPIO_Port, &GPIO_InitStruct);

  /*Configure GPIO pin : USB_FS_ID_Pin */
  GPIO_InitStruct.Pin = USB_FS_ID_Pin;
  GPIO_InitStruct.Mode = GPIO_MODE_AF_PP;
  GPIO_InitStruct.Pull = GPIO_NOPULL;
  GPIO_InitStruct.Speed = GPIO_SPEED_FREQ_LOW;
  GPIO_InitStruct.Alternate = GPIO_AF10_OTG1_HS;
  HAL_GPIO_Init(USB_FS_ID_GPIO_Port, &GPIO_InitStruct);

  /*Configure GPIO pins : USB_FS_N_Pin USB_FS_P_Pin */
  GPIO_InitStruct.Pin = USB_FS_N_Pin|USB_FS_P_Pin;
  GPIO_InitStruct.Mode = GPIO_MODE_AF_PP;
  GPIO_InitStruct.Pull = GPIO_NOPULL;
  GPIO_InitStruct.Speed = GPIO_SPEED_FREQ_LOW;
  HAL_GPIO_Init(GPIOA, &GPIO_InitStruct);

  /*Configure GPIO pin : PG9 */
  GPIO_InitStruct.Pin = GPIO_PIN_9;
  GPIO_InitStruct.Mode = GPIO_MODE_INPUT;
  GPIO_InitStruct.Pull = GPIO_NOPULL;
  HAL_GPIO_Init(GPIOG, &GPIO_InitStruct);

  /*Configure GPIO pin : LD2_Pin */
  GPIO_InitStruct.Pin = LD2_Pin;
  GPIO_InitStruct.Mode = GPIO_MODE_OUTPUT_PP;
  GPIO_InitStruct.Pull = GPIO_NOPULL;
  GPIO_InitStruct.Speed = GPIO_SPEED_FREQ_LOW;
  HAL_GPIO_Init(LD2_GPIO_Port, &GPIO_InitStruct);

}

/* USER CODE BEGIN 4 */

// Tasks

void UARTCom(void *argument){

	char UARTtxBuffer[2] = {0};
	char UARTrxBuffer[9] = {0};

	char MtrCtrlXrx_temp[8] = {0};
	char MtrCtrlYrx_temp[8] = {0};

	char HelCtrlrx_temp[2] = {0};

	char AutoFocusrx_temp[4] = {0};

	while(1){

		// Send data from the tx UART queue over uart
		// Receive from UARTtxQueue, buffer into UARTtxBuffer, and send over UART
		if (xQueueReceive(UARTtxQueue, &UARTtxBuffer, 100) == pdTRUE){
			HAL_UART_Transmit(&huart3, (uint8_t *)UARTtxBuffer, sizeof(UARTtxBuffer), 100);
		}

		HAL_UART_Receive_IT(&huart3, (uint8_t *)UARTrxBuffer, 9);
		if(xSemaphoreTake(UARTComSem, 100) == pdTRUE){

			// Process data received over UART
			switch(UARTrxBuffer[0]){

//			case '0':
//				MtrStop = true;
//				break;

			case '1':
//
				if (UARTrxBuffer[1] == '0'){
					MtrStop = true;
				}

				memcpy(MtrCtrlXrx_temp, UARTrxBuffer + 1, 8);
				xQueueSend(MtrCtrlXrxQueue, &MtrCtrlXrx_temp, 100);
				//memset(&MtrCtrlXrx_temp[0], '0', 8);
				break;

			case '2':

				if (UARTrxBuffer[1] == '0'){
					MtrStop = true;
				}

				memcpy(MtrCtrlYrx_temp, UARTrxBuffer + 1, 8);
				xQueueSend(MtrCtrlYrxQueue, &MtrCtrlYrx_temp, 100);
				//memset(&MtrCtrlYrx_temp[0], '0', 8);
				break;

			case '3':
				memcpy(AutoFocusrx_temp, UARTrxBuffer + 1, 4);
				dist = atoi(AutoFocusrx_temp);

				if (atoi(AutoFocusrx_temp) == 0){
					AutoFocusEn = false;
				} else {
					AutoFocusEn = true;
				}

				//memset(&AutoFocusrx_temp[0], '0', 4);
				break;

			case '4':
				memcpy(HelCtrlrx_temp, UARTrxBuffer + 1, 2);
				xQueueSend(HelCtrlrxQueue, &HelCtrlrx_temp, 100);
				//memset(&HelCtrlrx_temp[0], '0', 2);
				break;
			}

//			if (UARTrxBuffer[0] != '0'){
//				HAL_UART_Transmit(&huart3, (uint8_t *)UARTrxBuffer, 9, 100);
//				memset(&UARTrxBuffer[0], '0', 9);
//			}

		} //else {

//			vTaskDelay(pdMS_TO_TICKS(100));
//		}

	}

}

void AutoFocus(void *argument){

	const uint8_t num_steps = 10; // Number of steps taken between each ADC sample - roughly corresponds to 5 ms. Determines how frequently ADC is sampled

	uint8_t i = 0;
	TIM3 -> ARR = 0;

	while(1){

		if (AutoFocusEn){

			// ADC sampling
			HAL_ADC_Start_IT(&hadc1);
			if (xSemaphoreTake(AutoFocusSem, 1) == pdTRUE){

				// Setting direction of rotation
				if (ADCBuffer < dist - 300){
					HAL_GPIO_WritePin(GPIOB, GPIO_PIN_15, GPIO_PIN_SET); // This needs to be checked
				} else if (ADCBuffer > dist + 300){
					HAL_GPIO_WritePin(GPIOB, GPIO_PIN_15, GPIO_PIN_RESET);
				}

				// Setting the motor speed through the timer frequency
				TIM3 -> ARR = -abs(ADCBuffer - dist) + (dist + 500);

//				HAL_UART_Transmit(&huart3, (uint8_t *)itoa(ADCBuffer, test_buff, 10), sizeof(test_buff), 100);
//				HAL_UART_Transmit(&huart3, (uint8_t *)"\n", 1, 100);

				// The actual movement
				// Nothing is done if the distance is approximately correct
				// Additionally, due to what appears to be a glitch in the internal gain settings, when the value of ADCBuffer is around 2048
				// it sometimes skips to 1535 (2^11 - 2^9) so we must also account for this to ensure the autofocus doesn't skip around unpredictably
				if ( (ADCBuffer > (dist - 300) && ADCBuffer < (dist + 300)) || (ADCBuffer == 1535) || MtrStop == true ){
					vTaskDelay(pdMS_TO_TICKS(5));
				} else {
					for (i = 0; i<= num_steps; i++){
						if (xSemaphoreTake(AutoFocusPulseSem, 1) == pdTRUE){
							HAL_GPIO_TogglePin(GPIOC, GPIO_PIN_6);
						}
					}
					HAL_GPIO_WritePin(GPIOC, GPIO_PIN_6, GPIO_PIN_RESET);

				}
				HAL_ADC_Stop_IT(&hadc1);

			}

		} else { vTaskDelay(pdMS_TO_TICKS(500)); } // end if(AutoFocusEn)
	} // end while
}

void MotorCtrlX (void *argument){

	int i;
	char MtrCtrlXrxQueueBuffer[8] = {0};
	char steps[7]; // Local variable into which the number of steps is buffered from MtrCtrlXrxQueueBuffer
	char speed[4]; // Local variable into which the speed is buffered from MtrCtrlXrxQueueBuffer

	static uint16_t posX = 0; // The position along the side
	static int dir; // The direction, encoded by 1 or -1

	while(1){

		if (xQueueReceive(MtrCtrlXrxQueue, &MtrCtrlXrxQueueBuffer, 100) == pdTRUE){

			switch(MtrCtrlXrxQueueBuffer[0]) {

				/*
				 * Case 0 is handled in UARTCom - that is, the setting of the stop flag
				 */

				/*
				 * Set the direction, keep moving while the switch has not been triggered
				 * When the switch is triggered, change direction and move 200 steps off the switch.
				 * Register position
				 */

				case '1': // INIT
					HAL_GPIO_WritePin(GPIOA, GPIO_PIN_4, GPIO_PIN_RESET); 			// The direction pin set to backwards

					while(HAL_GPIO_ReadPin(GPIOG, GPIO_PIN_9) == 1 && !MtrStop){	// Keep moving while the switch has not been pushed and a stop flag has not been issued
						xSemaphoreTake(MotorPulseSem, 100);
						HAL_GPIO_TogglePin(GPIOB, GPIO_PIN_4);
					}

					HAL_GPIO_WritePin(GPIOB, GPIO_PIN_4, GPIO_PIN_RESET);			// Once hit, set the pin low and wait 100 ms
					vTaskDelay(pdMS_TO_TICKS(500));

					HAL_GPIO_WritePin(GPIOA, GPIO_PIN_4, GPIO_PIN_SET);				// Change to forwards motion and move 200 steps
					for (i=0; i < 200; i++){
						xSemaphoreTake(MotorPulseSem, 100);
						HAL_GPIO_TogglePin(GPIOB, GPIO_PIN_4);
					}
					HAL_GPIO_WritePin(GPIOB, GPIO_PIN_4, GPIO_PIN_RESET);

					posX = 200;														// Set the X position to 200
					break;

				/*
				 *  There is a bit of work to do here in the case of the motor reaching the end of it's range
				 * 	Sending the position for example, so the host computer can sort it
				 * 	Further, if the motor reaches the maximum position, it is impossible to release it
				 *
				 * 	Buffer the number of steps to be moved into a local variable to remove command bytes
				 * 	Take 'steps' number of steps, only do so if the switch is untouched, the max position is not reached,
				 * 	or a stop command has not been received
				 */

				case '2': // MOVE
					memcpy(steps, MtrCtrlXrxQueueBuffer + 1, 7);			// Copy the useful information out of the queue buffer

					for (i=0; i < atoi(steps); i++){						// Move 'steps' number of steps

						if (!MtrStop){										// Every time, check that a stop command has not been received

							xSemaphoreTake(MotorPulseSem, 100);				// Wait for the motor pulse
							HAL_GPIO_TogglePin(GPIOB, GPIO_PIN_4);			// Pulse the step pin
							posX += dir;									// Increment/decrement the x position

							if (i%10 == 0){ // Add this modulo operation to lessen the load on the processor
								if (HAL_GPIO_ReadPin(GPIOG, GPIO_PIN_9) == 0 || (posX >= max_pos)){MtrStop = true;}	// Check that the max position has not been reached and the switch has not been pressed
							}

						} else {											// If the stop flag is triggered, set it to false and break out of the loop
							HAL_GPIO_WritePin(GPIOB, GPIO_PIN_4, GPIO_PIN_RESET);
							MtrStop = false;
							break;
							//xQueueSend(MtrCtrlXrxQueue, , 100); SEND THE POSITION OR SOMETHING
						}
					}
					HAL_GPIO_WritePin(GPIOB, GPIO_PIN_4, GPIO_PIN_RESET);
					memset(&steps[0], 0, sizeof(steps));
					break;

				/*
				 * This one is pretty simple. The direction is selected by applying the appropriate state to the direction pin
				 * and the sign to the 'dir' variable
				 */

				case '3': // SELECT DIRECTION
					if (MtrCtrlXrxQueueBuffer[1] == '0'){
						HAL_GPIO_WritePin(GPIOA, GPIO_PIN_4, GPIO_PIN_RESET);
						dir = -1;
					} else if (MtrCtrlXrxQueueBuffer[1] == '1') {
						HAL_GPIO_WritePin(GPIOA, GPIO_PIN_4, GPIO_PIN_SET);
						dir = 1;
					}
					break;

				/*
				 * Again, nice and simple. Copy the useful information from the queue buffer and
				 * assign it to the ARR register which governs the speed of the timer
				 */

				case '4': // CHANGE SPEED
					memcpy(speed, MtrCtrlXrxQueueBuffer + 1, 4);
					TIM5 -> ARR = atoi(speed);
					memset(&speed, 0, sizeof(speed));
					break;

			}

			memset(&MtrCtrlXrxQueueBuffer[0], 0, sizeof(MtrCtrlXrxQueueBuffer)); // Clear the queue buffer
		}
		vTaskDelay(pdMS_TO_TICKS(500)); // Wait half a second between commands

	}
}

void MotorCtrlY (void *argument){
	int i;
	char MtrCtrlYrxQueueBuffer[8] = {0};
	char steps[7];
	char speed[4];

	static uint16_t posY = 0;
	static int dir;

	while(1){

		if (xQueueReceive(MtrCtrlYrxQueue, &MtrCtrlYrxQueueBuffer, 100) == pdTRUE){

			switch(MtrCtrlYrxQueueBuffer[0]) {

				/*
				 * Case 0 is handled in UARTCom - that is, the setting of the stop flag
				 */

				/*
				 * Set the direction, keep moving while the switch has not been triggered
				 * When the switch is triggered, change direction and move 200 steps off the switch.
				 * Register position
				 */

				case '1': // INIT
					HAL_GPIO_WritePin(GPIOB, GPIO_PIN_9, GPIO_PIN_RESET); 			// The direction pin set to backwards

					while(HAL_GPIO_ReadPin(GPIOG, GPIO_PIN_9) == 1 && !MtrStop){	// Keep moving while the switch has not been pushed and a stop flag has not been issued
						xSemaphoreTake(MotorPulseSem, 100);
						HAL_GPIO_TogglePin(GPIOB, GPIO_PIN_8);
					}

					HAL_GPIO_WritePin(GPIOB, GPIO_PIN_8, GPIO_PIN_RESET);			// Once hit, set the pin low and wait 100 ms
					vTaskDelay(pdMS_TO_TICKS(500));

					HAL_GPIO_WritePin(GPIOB, GPIO_PIN_9, GPIO_PIN_SET);				// Change to forwards motion and move 200 steps
					for (i=0; i < 200; i++){
						xSemaphoreTake(MotorPulseSem, 100);
						HAL_GPIO_TogglePin(GPIOB, GPIO_PIN_8);
					}
					HAL_GPIO_WritePin(GPIOB, GPIO_PIN_8, GPIO_PIN_RESET);

					posY = 200;														// Set the X position to 200
					break;

				/*
				 *  There is a bit of work to do here in the case of the motor reaching the end of it's range
				 * 	Sending the position for example, so the host computer can sort it
				 *
				 * 	Buffer the number of steps to be moved into a local variable to remove command bytes
				 * 	Take 'steps' number of steps, only do so if the switch is untouched, the max position is not reached,
				 * 	or a stop command has not been received
				 */

				case '2': // MOVE
					memcpy(steps, MtrCtrlYrxQueueBuffer + 1, 7);			// Copy the useful information out of the queue buffer

					for (i=0; i < atoi(steps); i++){						// Move 'steps' number of steps

						if (!MtrStop){										// Every time, check that a stop command has not been received

							xSemaphoreTake(MotorPulseSem, 100);				// Wait for the motor pulse
							HAL_GPIO_TogglePin(GPIOB, GPIO_PIN_8);			// Pulse the step pin
							posY += dir;									// Increment/decrement the x position

							if (i%10 == 0){ // Add this modulo operation to lessen the load on the processor
								if (HAL_GPIO_ReadPin(GPIOG, GPIO_PIN_9) == 0 || (posY >= max_pos)){MtrStop = true;}	// Check that the max position has not been reached and the switch has not been pressed
							}

						} else {													// If the stop flag is triggered, set it to false and break out of the loop
							HAL_GPIO_WritePin(GPIOB, GPIO_PIN_8, GPIO_PIN_RESET);
							MtrStop = false;
							break;
							//xQueueSend(MtrCtrlXrxQueue, , 100); SEND THE POSITION OR SOMETHING
						}
					}
					HAL_GPIO_WritePin(GPIOB, GPIO_PIN_8, GPIO_PIN_RESET);
					memset(&steps[0], 0, sizeof(steps));
					break;

				/*
				 * This one is pretty simple. The direction is selected by applying the appropriate state to the direction pin
				 * and the sign to the 'dir' variable
				 */

				case '3': // SELECT DIRECTION
					if (MtrCtrlYrxQueueBuffer[1] == '0'){
						HAL_GPIO_WritePin(GPIOB, GPIO_PIN_9, GPIO_PIN_RESET);
						dir = -1;
					} else if (MtrCtrlYrxQueueBuffer[1] == '1') {
						HAL_GPIO_WritePin(GPIOB, GPIO_PIN_9, GPIO_PIN_SET);
						dir = 1;
					}
					break;

				/*
				 * Again, nice and simple. Copy the useful information from the queue buffer and
				 * assign it to the ARR register which governs the speed of the timer
				 */

				case '4': // CHANGE SPEED
					memcpy(speed, MtrCtrlYrxQueueBuffer + 1, 4);
					TIM5 -> ARR = atoi(speed);
					memset(&speed, 0, sizeof(speed));
					break;

			}

			memset(&MtrCtrlYrxQueueBuffer[0], 0, sizeof(MtrCtrlYrxQueueBuffer)); // Clear the queue buffer
		}
		vTaskDelay(pdMS_TO_TICKS(500)); // Wait half a second between commands

	}

}

void HeliumCtrl(void *argument){

	char CCRrxBuffer[2] = {0};
	TIM2 -> CCR1 = 0;

	while(1){

		if (xQueueReceive(HelCtrlrxQueue, &CCRrxBuffer, 100) == pdTRUE){
			TIM2 -> CCR1 = round( (TIM2 -> ARR) * (atoi(CCRrxBuffer)/100.0) );
		}

		vTaskDelay(pdMS_TO_TICKS(1000));

	}
}

// Non-task functions

//void MtrCtrl(GPIO_TypeDef* pin_group, uint16_t pin, char *QueueBuffer){
//
//}

// Interrupt Service Routines

void HAL_UART_RxCpltCallback(UART_HandleTypeDef *huart)
{
	BaseType_t xHigherPriorityTaskWoken = pdFALSE;

	if (huart->Instance == USART3){
		xSemaphoreGiveFromISR( UARTComSem, &xHigherPriorityTaskWoken);
	}

	if(xHigherPriorityTaskWoken){
	    portYIELD_FROM_ISR( xHigherPriorityTaskWoken );
	}
}

void HAL_SPI_RxCpltCallback(SPI_HandleTypeDef * hspi)
{
	BaseType_t xHigherPriorityTaskWoken = pdFALSE;

	HAL_SPI_Receive_DMA(&hspi2, DPPrxBuffer, sizeof(DPPrxBuffer));
    xQueueSendToBackFromISR(UARTtxQueue, &DPPrxBuffer, &xHigherPriorityTaskWoken);

    if(xHigherPriorityTaskWoken){
    	portYIELD_FROM_ISR( xHigherPriorityTaskWoken );
    }
}

void HAL_ADC_ConvCpltCallback(ADC_HandleTypeDef* hadc)
{
	BaseType_t xHigherPriorityTaskWoken = pdFALSE;

	ADCBuffer = HAL_ADC_GetValue(&hadc1);
	xSemaphoreGiveFromISR( AutoFocusSem, &xHigherPriorityTaskWoken);

	if(xHigherPriorityTaskWoken){
	    portYIELD_FROM_ISR( xHigherPriorityTaskWoken );
	}
}

/* USER CODE END 4 */

void HAL_TIM_PeriodElapsedCallback(TIM_HandleTypeDef *htim)
{
  /* USER CODE BEGIN Callback 0 */
	BaseType_t xHigherPriorityTaskWoken = pdFALSE;
  /* USER CODE END Callback 0 */
  if (htim->Instance == TIM6) {
    HAL_IncTick();
  }
  /* USER CODE BEGIN Callback 1 */

  if(htim == &htim3){ // tim3 is our autofocus motor pulse timer, triggers an interrupt on rollover
		xSemaphoreGiveFromISR( AutoFocusPulseSem, &xHigherPriorityTaskWoken);
	}

  if(htim == &htim5){ // tim5 is our motor pulse timer, triggers an interrupt on rollover
    	xSemaphoreGiveFromISR( MotorPulseSem, &xHigherPriorityTaskWoken);
    }

  if(xHigherPriorityTaskWoken){
    portYIELD_FROM_ISR( xHigherPriorityTaskWoken );
   	}

  /* USER CODE END Callback 1 */
}

void Error_Handler(void)
{
  __disable_irq();
  while (1)
  {
  }
}
